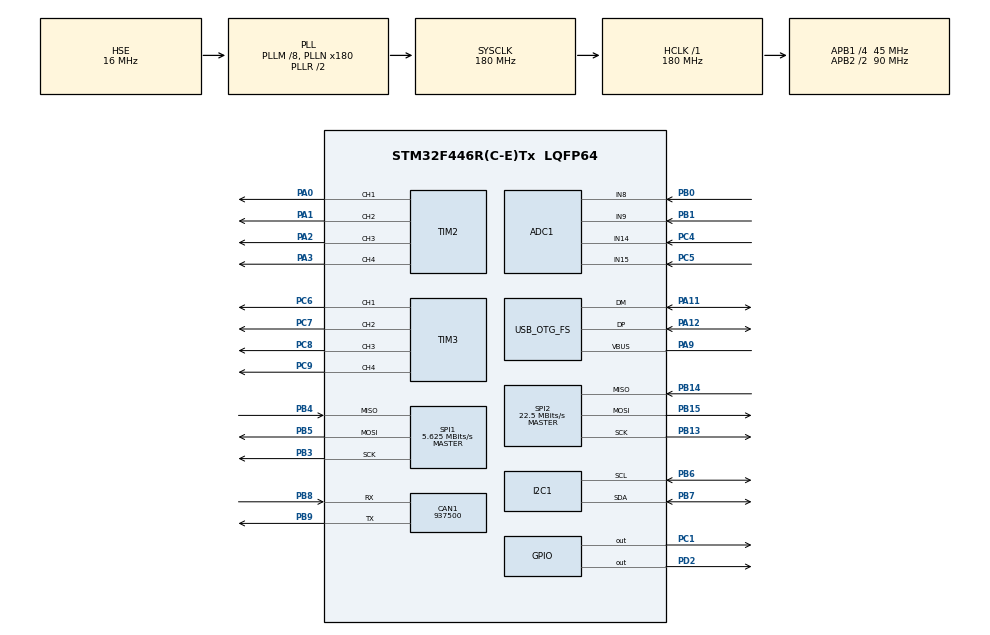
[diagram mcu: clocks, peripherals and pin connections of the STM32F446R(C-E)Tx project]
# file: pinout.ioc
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ADC1.Channel-3\#ChannelRegularConversion=ADC_CHANNEL_8
ADC1.NbrOfConversionFlag=1
ADC1.Rank-3\#ChannelRegularConversion=1
ADC1.SamplingTime-3\#ChannelRegularConversion=ADC_SAMPLETIME_3CYCLES
ADC1.master=1
CAN1.CalculateBaudRate=937500
CAN1.CalculateTimeBit=1066
CAN1.CalculateTimeQuantum=355.55555555555554
Mcu.Family=STM32F4
Mcu.Name=STM32F446R(C-E)Tx
Mcu.Package=LQFP64
NVIC.OTG_FS_IRQn=true\:0\:0\:false\:false\:true\:false\:true\:true
NVIC.PriorityGroup=NVIC_PRIORITYGROUP_4
PA0-WKUP.Signal=S_TIM2_CH1_ETR
PA1.Signal=S_TIM2_CH2
PA11.Mode=Device_Only
PA11.Signal=USB_OTG_FS_DM
PA12.Mode=Device_Only
PA12.Signal=USB_OTG_FS_DP
PA13.Mode=Serial_Wire
PA13.Signal=SYS_JTMS-SWDIO
PA14.Mode=Serial_Wire
PA14.Signal=SYS_JTCK-SWCLK
PA2.Signal=S_TIM2_CH3
PA3.Signal=S_TIM2_CH4
PA9.Mode=Activate_VBUS
PA9.Signal=USB_OTG_FS_VBUS
PB0.Signal=ADCx_IN8
PB1.Signal=ADCx_IN9
PB12.Signal=SPI2_NSS
PB13.Mode=Full_Duplex_Master
PB13.Signal=SPI2_SCK
PB14.Mode=Full_Duplex_Master
PB14.Signal=SPI2_MISO
PB15.Mode=Full_Duplex_Master
PB15.Signal=SPI2_MOSI
PB3.Mode=Full_Duplex_Master
PB3.Signal=SPI1_SCK
PB4.Mode=Full_Duplex_Master
PB4.Signal=SPI1_MISO
PB5.Mode=Full_Duplex_Master
PB5.Signal=SPI1_MOSI
PB6.Mode=I2C
PB6.Signal=I2C1_SCL
PB7.Mode=I2C
PB7.Signal=I2C1_SDA
PB8.Mode=CAN_Activate
PB8.Signal=CAN1_RX
PB9.Mode=CAN_Activate
PB9.Signal=CAN1_TX
PC1.Signal=GPIO_Output
PC4.Signal=ADCx_IN14
PC5.Signal=ADCx_IN15
PC6.Signal=S_TIM3_CH1
PC7.Signal=S_TIM3_CH2
PC8.Signal=S_TIM3_CH3
PC9.Signal=S_TIM3_CH4
PD2.Signal=GPIO_Output
PH0-OSC_IN.Mode=HSE-External-Oscillator
PH0-OSC_IN.Signal=RCC_OSC_IN
PH1-OSC_OUT.Mode=HSE-External-Oscillator
PH1-OSC_OUT.Signal=RCC_OSC_OUT
ProjectManager.HeapSize=0x200
ProjectManager.StackSize=0x400
ProjectManager.TargetToolchain=STM32CubeIDE
RCC.AHBFreq_Value=180000000
RCC.APB1CLKDivider=RCC_HCLK_DIV4
RCC.APB1Freq_Value=45000000
RCC.APB1TimFreq_Value=90000000
RCC.APB2CLKDivider=RCC_HCLK_DIV2
RCC.APB2Freq_Value=90000000
RCC.APB2TimFreq_Value=180000000
RCC.CortexFreq_Value=180000000
RCC.HCLKFreq_Value=180000000
RCC.HSE_VALUE=16000000
RCC.PLLM=8
RCC.PLLN=180
RCC.PLLSAIP=RCC_PLLSAIP_DIV4
RCC.PLLSourceVirtual=RCC_PLLSOURCE_HSE
RCC.SYSCLKFreq_VALUE=180000000
RCC.SYSCLKSource=RCC_SYSCLKSOURCE_PLLRCLK
RCC.USBCLockSelection=RCC_CLK48CLKSOURCE_PLLSAIP
RCC.USBFreq_Value=48000000
RCC.VCOOutputFreq_Value=360000000
SH.ADCx_IN14.0=ADC1_IN14,IN14
SH.ADCx_IN15.0=ADC1_IN15,IN15
SH.ADCx_IN8.0=ADC1_IN8,IN8
SH.ADCx_IN9.0=ADC1_IN9,IN9
SH.S_TIM2_CH1_ETR.0=TIM2_CH1,PWM Generation1 CH1
SH.S_TIM2_CH2.0=TIM2_CH2,PWM Generation2 CH2
SH.S_TIM2_CH3.0=TIM2_CH3,PWM Generation3 CH3
SH.S_TIM2_CH4.0=TIM2_CH4,PWM Generation4 CH4
SH.S_TIM3_CH1.0=TIM3_CH1,PWM Generation1 CH1
SH.S_TIM3_CH2.0=TIM3_CH2,PWM Generation2 CH2
SH.S_TIM3_CH3.0=TIM3_CH3,PWM Generation3 CH3
SH.S_TIM3_CH4.0=TIM3_CH4,PWM Generation4 CH4
SPI1.BaudRatePrescaler=SPI_BAUDRATEPRESCALER_16
SPI1.CLKPhase=SPI_PHASE_2EDGE
SPI1.CalculateBaudRate=5.625 MBits/s
SPI1.DataSize=SPI_DATASIZE_16BIT
SPI1.Direction=SPI_DIRECTION_2LINES
SPI1.Mode=SPI_MODE_MASTER
SPI1.VirtualType=VM_MASTER
SPI2.CalculateBaudRate=22.5 MBits/s
SPI2.Direction=SPI_DIRECTION_2LINES
SPI2.Mode=SPI_MODE_MASTER
SPI2.VirtualType=VM_MASTER
TIM2.Channel-PWM\ Generation1\ CH1=TIM_CHANNEL_1
TIM2.Channel-PWM\ Generation2\ CH2=TIM_CHANNEL_2
TIM2.Channel-PWM\ Generation3\ CH3=TIM_CHANNEL_3
TIM2.Channel-PWM\ Generation4\ CH4=TIM_CHANNEL_4
TIM3.Channel-PWM\ Generation1\ CH1=TIM_CHANNEL_1
TIM3.Channel-PWM\ Generation2\ CH2=TIM_CHANNEL_2
TIM3.Channel-PWM\ Generation3\ CH3=TIM_CHANNEL_3
TIM3.Channel-PWM\ Generation4\ CH4=TIM_CHANNEL_4
USB_DEVICE.CLASS_NAME_FS=CDC
USB_DEVICE.VirtualMode-CDC_FS=Cdc
USB_DEVICE.VirtualModeFS=Cdc_FS
USB_OTG_FS.VirtualMode=Device_Only
VP_USB_DEVICE_VS_USB_DEVICE_CDC_FS.Mode=CDC_FS
board=custom

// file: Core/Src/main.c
/* USER CODE BEGIN Header */
/**
  ******************************************************************************
  * @file           : main.c
  * @brief          : Main program body
  ******************************************************************************
  * @attention
  *
  * Copyright (c) 2026 STMicroelectronics.
  * All rights reserved.
  *
  * This software is licensed under terms that can be found in the LICENSE file
  * in the root directory of this software component.
  * If no LICENSE file comes with this software, it is provided AS-IS.
  *
  ******************************************************************************
  */
/* USER CODE END Header */
#include "main.h"
#include "adc.h"
#include "can.h"
#include "i2c.h"
#include "spi.h"
#include "tim.h"
#include "usb_device.h"
#include "gpio.h"

#include "usbd_cdc_if.h"

void SystemClock_Config(void);

int main(void)
{

  /* MCU Configuration--------------------------------------------------------*/

  /* Reset of all peripherals, Initializes the Flash interface and the Systick. */
  HAL_Init();

  /* Configure the system clock */
  SystemClock_Config();

  /* Initialize all configured peripherals */
  MX_GPIO_Init();
  MX_ADC1_Init();
  MX_I2C1_Init();
  MX_SPI1_Init();
  MX_TIM2_Init();
  MX_CAN1_Init();
  MX_TIM3_Init();
  MX_SPI2_Init();
  MX_USB_DEVICE_Init();

  /* Infinite loop */
  while (1)
  {

    /* USER CODE BEGIN 3 */
    HAL_GPIO_TogglePin(GPIOC, GPIO_PIN_1);
    HAL_Delay(100);
    HAL_GPIO_TogglePin(GPIOC, GPIO_PIN_1);
    HAL_Delay(100);

    HAL_GPIO_TogglePin(GPIOC, GPIO_PIN_1);
    HAL_Delay(100);
    HAL_GPIO_TogglePin(GPIOC, GPIO_PIN_1);
    HAL_Delay(100);

    HAL_GPIO_TogglePin(GPIOC, GPIO_PIN_1);
    HAL_Delay(100);
    HAL_GPIO_TogglePin(GPIOC, GPIO_PIN_1);
    HAL_Delay(100);

    HAL_Delay(500);

    char* message = "Hello World!\r\n";

    CDC_Transmit_FS((uint8_t*)message, strlen(message));
  }
  /* USER CODE END 3 */
}

void SystemClock_Config(void)
{
  RCC_OscInitTypeDef RCC_OscInitStruct = {0};
  RCC_ClkInitTypeDef RCC_ClkInitStruct = {0};

  /** Configure the main internal regulator output voltage
  */
  __HAL_RCC_PWR_CLK_ENABLE();
  __HAL_PWR_VOLTAGESCALING_CONFIG(PWR_REGULATOR_VOLTAGE_SCALE1);

  /** Initializes the RCC Oscillators according to the specified parameters
  * in the RCC_OscInitTypeDef structure.
  */
  RCC_OscInitStruct.OscillatorType = RCC_OSCILLATORTYPE_HSE;
  RCC_OscInitStruct.HSEState = RCC_HSE_ON;
  RCC_OscInitStruct.PLL.PLLState = RCC_PLL_ON;
  RCC_OscInitStruct.PLL.PLLSource = RCC_PLLSOURCE_HSE;
  RCC_OscInitStruct.PLL.PLLM = 8;
  RCC_OscInitStruct.PLL.PLLN = 180;
  RCC_OscInitStruct.PLL.PLLP = RCC_PLLP_DIV2;
  RCC_OscInitStruct.PLL.PLLQ = 2;
  RCC_OscInitStruct.PLL.PLLR = 2;
  if (HAL_RCC_OscConfig(&RCC_OscInitStruct) != HAL_OK)
  {
    Error_Handler();
  }

  /** Activate the Over-Drive mode
  */
  if (HAL_PWREx_EnableOverDrive() != HAL_OK)
  {
    Error_Handler();
  }

  /** Initializes the CPU, AHB and APB buses clocks
  */
  RCC_ClkInitStruct.ClockType = RCC_CLOCKTYPE_HCLK|RCC_CLOCKTYPE_SYSCLK
                              |RCC_CLOCKTYPE_PCLK1|RCC_CLOCKTYPE_PCLK2;
  RCC_ClkInitStruct.SYSCLKSource = RCC_SYSCLKSOURCE_PLLRCLK;
  RCC_ClkInitStruct.AHBCLKDivider = RCC_SYSCLK_DIV1;
  RCC_ClkInitStruct.APB1CLKDivider = RCC_HCLK_DIV4;
  RCC_ClkInitStruct.APB2CLKDivider = RCC_HCLK_DIV2;

  if (HAL_RCC_ClockConfig(&RCC_ClkInitStruct, FLASH_LATENCY_5) != HAL_OK)
  {
    Error_Handler();
  }
}

void Error_Handler(void)
{
  __disable_irq();
  while (1)
  {
  }
}
